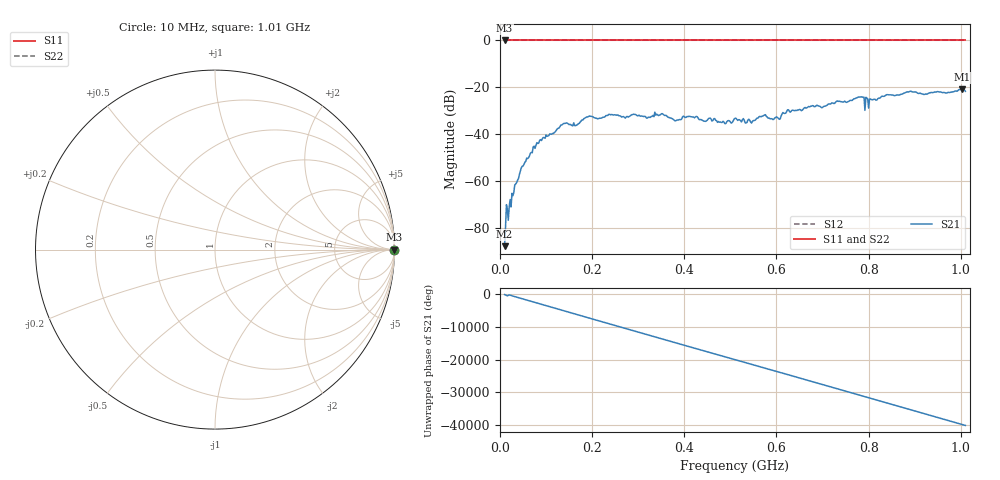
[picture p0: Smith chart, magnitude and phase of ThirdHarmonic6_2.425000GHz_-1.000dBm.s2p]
! 8/17/2025 4:09:51 AM
! C:\ANRITSUVNA\TEMP\TEMP.S2P
! CHANNEL.1
! TR.MEASUREMENT
! RAW.DATA
! RF.CORRECTION.OFF
! AVERAGING.OFF
! IF.BANDWIDTH: 5KHZ
! SWEEPTYPE:  FREQ.SWEEP(Linear)
! Reference Plane Port Info
! PORT:  PORT1  PORT2
! DISTANCE:  0  m  0  m
! TIME:  0  s  0  s
! PHASE.OFFSET:  0  deg.  0  deg.
! LOSS:  0  dB  0  dB
! REF.LOSS:  0  dB  0  dB
! REF.FREQ:  0  Hz  0  Hz
! Power Info
! POWER:  -20  dBm  -20  dBm
! EFF.POWER:  -20  dBm  -20  dBm
! SOURCE.ATTEN:  0  dB  0  dB
! TEST.ATTEN:  0  dB  0  dB
# GHZ S RI R 50.0
! FREQ.GHZ  S11RE  S11IM  S21RE  S21IM  S12RE  S12IM  S22RE  S22IM
!; PortSelection: Port_12
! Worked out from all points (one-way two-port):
!   501 points, 10 MHz to 1.01 GHz, reference 50 ohm
!   highest |S21| = -20.79 dB at 1.002 GHz (marker M1); lowest = -87.6 dB at 10 MHz (marker M2)
!   lowest |S11| = 0.0 dB at 10 MHz (marker M3)
!   |S11| at or under -10 dB: nowhere
!   |S22| runs from 0.0 to 0.0 dB; largest |S21 - S12| = 1.1
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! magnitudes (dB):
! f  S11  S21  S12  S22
! 10 MHz  0.0  -87.6  0.0  0.0
! 30 MHz  0.0  -64.7  0.0  0.0
! 46 MHz  0.0  -54.4  0.0  0.0
! 76 MHz  0.0  -45.9  0.0  0.0
! 136 MHz  0.0  -35.7  0.0  0.0
! 166 MHz  0.0  -36.1  0.0  0.0
! 178 MHz  0.0  -33.9  0.0  0.0
! 240 MHz  0.0  -31.7  0.0  0.0
! 344 MHz  0.0  -32.0  0.0  0.0
! 382 MHz  0.0  -34.1  0.0  0.0
! 410 MHz  0.0  -32.3  0.0  0.0
! 486 MHz  0.0  -34.7  0.0  0.0
! 510 MHz  0.0  -33.2  0.0  0.0
! 572 MHz  0.0  -32.0  0.0  0.0
! 606 MHz  0.0  -33.6  0.0  0.0
! 624 MHz  0.0  -29.5  0.0  0.0
! 678 MHz  0.0  -27.7  0.0  0.0
! 782 MHz  0.0  -24.1  0.0  0.0
! 796 MHz  0.0  -24.5  0.0  0.0
! 844 MHz  0.0  -23.2  0.0  0.0
! 1.002 GHz  0.0  -20.8  0.0  0.0
! 1.01 GHz  0.0  -21.6  0.0  0.0
